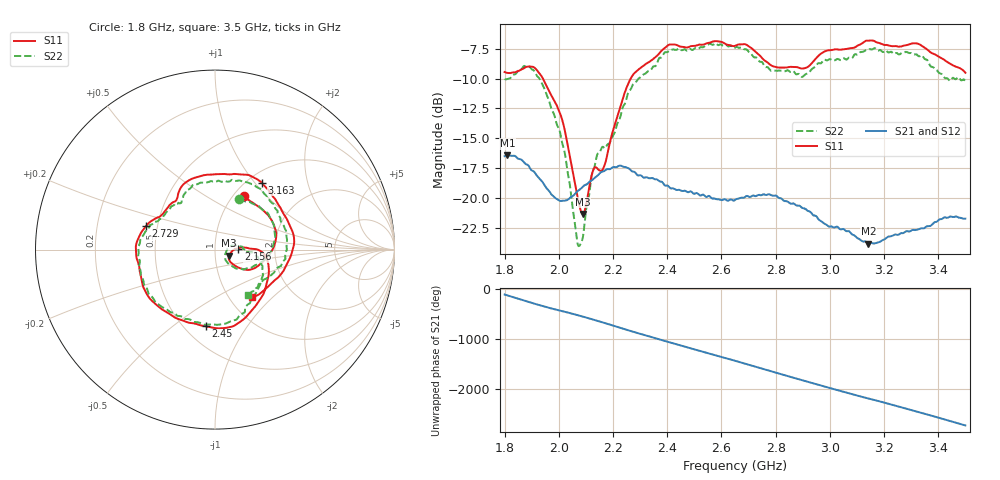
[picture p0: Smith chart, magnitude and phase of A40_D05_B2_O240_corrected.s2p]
! Created with skrf 1.9.0 (http://scikit-rf.org).
# Hz S RI R 50.0
!freq ReS11 ImS11 ReS21 ImS21 ReS12 ImS12 ReS22 ImS22
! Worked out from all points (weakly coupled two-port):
!   1601 points, 1.8 GHz to 3.5 GHz, reference 50 ohm
!   highest |S21| = -16.44 dB at 1.811 GHz (marker M1); lowest = -23.8 dB at 3.142 GHz (marker M2)
!   lowest |S11| = -21.4 dB at 2.088 GHz (marker M3), VSWR 1.19, Z = 58.4 - j3.91 ohm
!   |S11| at or under -10 dB: 1.941 GHz to 2.265 GHz (323.6 MHz wide, 15.4 % of centre)
!   |S22| runs from -24.1 to -7.0 dB; largest |S21 - S12| = 0.0025
!   S11 on the Smith chart (normalised r, x): 1.8 GHz: 1.12, +0.75; 2.156 GHz: 1.30, +0.00; 2.45 GHz: 0.63, -0.66; 2.729 GHz: 0.43, +0.13; 3.163 GHz: 1.15, +1.09; 3.5 GHz: 1.27, -0.75
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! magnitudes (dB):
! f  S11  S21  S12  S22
! 1.8 GHz  -9.4  -16.5  -16.5  -10.0
! 1.811 GHz  -9.5  -16.4  -16.4  -10.0
! 1.883 GHz  -9.0  -17.2  -17.2  -9.0
! 1.941 GHz  -10.0  -18.7  -18.7  -10.6
! 2.011 GHz  -13.4  -20.3  -20.2  -15.3
! 2.067 GHz  -19.7  -19.5  -19.5  -23.5
! 2.084 GHz  -21.2  -19.2  -19.1  -23.7
! 2.088 GHz  -21.4  -19.1  -19.1  -23.4
! 2.127 GHz  -17.6  -18.4  -18.4  -17.7
! 2.156 GHz  -17.7  -17.9  -17.9  -15.9
! 2.196 GHz  -14.6  -17.5  -17.4  -14.9
! 2.261 GHz  -10.2  -17.6  -17.6  -11.0
! 2.367 GHz  -8.0  -18.5  -18.5  -8.4
! 2.45 GHz  -7.3  -19.4  -19.4  -7.6
! 2.65 GHz  -7.2  -20.2  -20.1  -7.4
! 2.729 GHz  -7.8  -19.9  -19.9  -8.2
! 2.934 GHz  -8.7  -21.4  -21.3  -9.2
! 3.142 GHz  -6.8  -23.8  -23.7  -7.6
! 3.163 GHz  -6.8  -23.8  -23.8  -7.5
! 3.217 GHz  -7.2  -23.3  -23.2  -7.8
! 3.326 GHz  -7.1  -22.7  -22.6  -8.1
! 3.5 GHz  -9.5  -21.7  -21.7  -10.2
